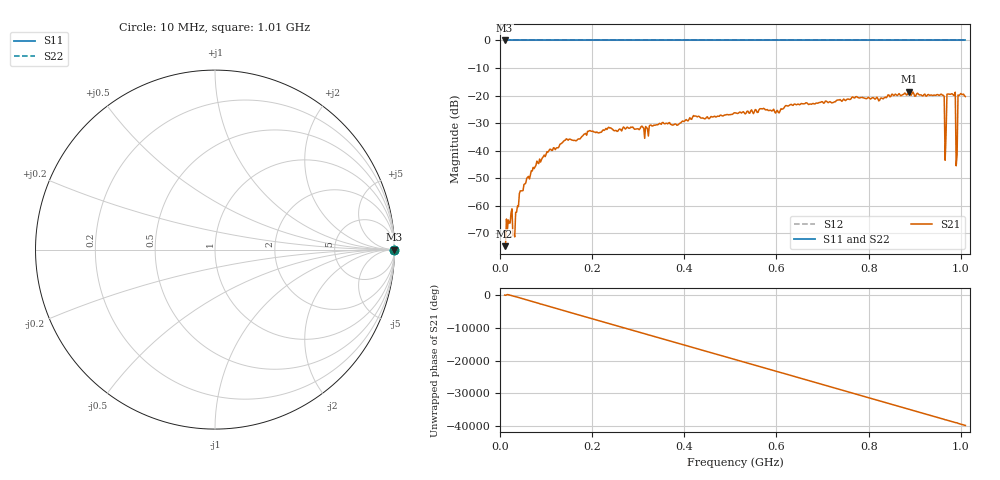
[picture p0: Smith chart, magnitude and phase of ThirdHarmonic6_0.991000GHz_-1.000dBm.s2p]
! 8/16/2025 7:51:07 AM
! C:\ANRITSUVNA\TEMP\TEMP.S2P
! CHANNEL.1
! TR.MEASUREMENT
! RAW.DATA
! RF.CORRECTION.OFF
! AVERAGING.OFF
! IF.BANDWIDTH: 5KHZ
! SWEEPTYPE:  FREQ.SWEEP(Linear)
! Reference Plane Port Info
! PORT:  PORT1  PORT2
! DISTANCE:  0  m  0  m
! TIME:  0  s  0  s
! PHASE.OFFSET:  0  deg.  0  deg.
! LOSS:  0  dB  0  dB
! REF.LOSS:  0  dB  0  dB
! REF.FREQ:  0  Hz  0  Hz
! Power Info
! POWER:  -20  dBm  -20  dBm
! EFF.POWER:  -20  dBm  -20  dBm
! SOURCE.ATTEN:  0  dB  0  dB
! TEST.ATTEN:  0  dB  0  dB
# GHZ S RI R 50.0
! FREQ.GHZ  S11RE  S11IM  S21RE  S21IM  S12RE  S12IM  S22RE  S22IM
!; PortSelection: Port_12
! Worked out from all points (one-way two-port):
!   501 points, 10 MHz to 1.01 GHz, reference 50 ohm
!   highest |S21| = -18.56 dB at 888 MHz (marker M1); lowest = -74.6 dB at 10 MHz (marker M2)
!   lowest |S11| = 0.0 dB at 10 MHz (marker M3)
!   |S11| at or under -10 dB: nowhere
!   |S22| runs from 0.0 to 0.0 dB; largest |S21 - S12| = 1.1
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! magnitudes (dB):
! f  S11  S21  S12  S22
! 10 MHz  0.0  -74.6  0.0  0.0
! 22 MHz  0.0  -66.2  0.0  0.0
! 32 MHz  0.0  -71.2  0.0  0.0
! 46 MHz  0.0  -54.5  0.0  0.0
! 76 MHz  0.0  -45.9  0.0  0.0
! 142 MHz  0.0  -36.1  0.0  0.0
! 178 MHz  0.0  -34.8  0.0  0.0
! 318 MHz  0.0  -31.6  0.0  0.0
! 344 MHz  0.0  -30.4  0.0  0.0
! 510 MHz  0.0  -26.2  0.0  0.0
! 678 MHz  0.0  -22.9  0.0  0.0
! 844 MHz  0.0  -19.8  0.0  0.0
! 888 MHz  0.0  -18.6  0.0  0.0
! 960 MHz  0.0  -19.8  0.0  0.0
! 964 MHz  0.0  -20.3  0.0  0.0
! 970 MHz  0.0  -19.5  0.0  0.0
! 974 MHz  0.0  -19.5  0.0  0.0
! 984 MHz  0.0  -19.8  0.0  0.0
! 988 MHz  0.0  -18.8  0.0  0.0
! 994 MHz  0.0  -19.8  0.0  0.0
! 998 MHz  0.0  -19.7  0.0  0.0
! 1.01 GHz  0.0  -20.3  0.0  0.0
